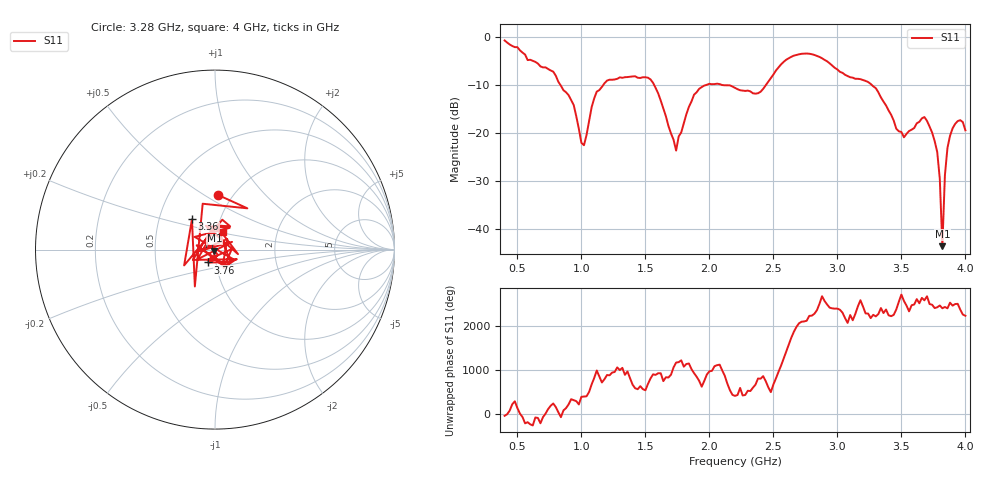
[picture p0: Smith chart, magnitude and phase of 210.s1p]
!Created with skrf (http://scikit-rf.org).
# Hz S RI R 50.0
!freq ReS11 ImS11
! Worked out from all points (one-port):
!   181 points, 400 MHz to 4 GHz, reference 50 ohm
!   lowest |S11| = -43.5 dB at 3.82 GHz (marker M1), VSWR 1.01, Z = 49.6 - j0.551 ohm
!   |S11| at or under -10 dB: 1.568 GHz to 1.979 GHz (410.9 MHz wide, 23.2 % of centre); 2.096 GHz to 2.443 GHz (346.9 MHz wide, 15.3 % of centre); 3.268 GHz to end of sweep (the widest 3 of 4)
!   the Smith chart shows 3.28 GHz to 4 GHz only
!   S11 on the Smith chart (normalised r, x): 3.28 GHz: 0.85, +0.57; 3.36 GHz: 0.73, +0.26; 3.76 GHz: 0.91, -0.13; 4 GHz: 1.07, +0.21
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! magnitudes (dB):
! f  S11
! 400 MHz  -0.8
! 780 MHz  -7.3
! 860 MHz  -11.1
! 940 MHz  -14.2
! 1.02 GHz  -22.5
! 1.12 GHz  -11.4
! 1.3 GHz  -8.4
! 1.54 GHz  -8.9
! 1.74 GHz  -23.7
! 1.76 GHz  -20.7
! 1.92 GHz  -10.8
! 2.2 GHz  -10.6
! 2.38 GHz  -11.7
! 2.66 GHz  -3.9
! 2.84 GHz  -4.0
! 3.1 GHz  -8.4
! 3.28 GHz  -10.3
! 3.36 GHz  -13.5
! 3.46 GHz  -19.1
! 3.56 GHz  -19.6
! 3.68 GHz  -16.7
! 3.76 GHz  -21.7
! 3.8 GHz  -29.5
! 3.82 GHz  -43.5
! 3.84 GHz  -28.8
! 3.86 GHz  -23.1
! 3.94 GHz  -17.5
! 4 GHz  -19.4
